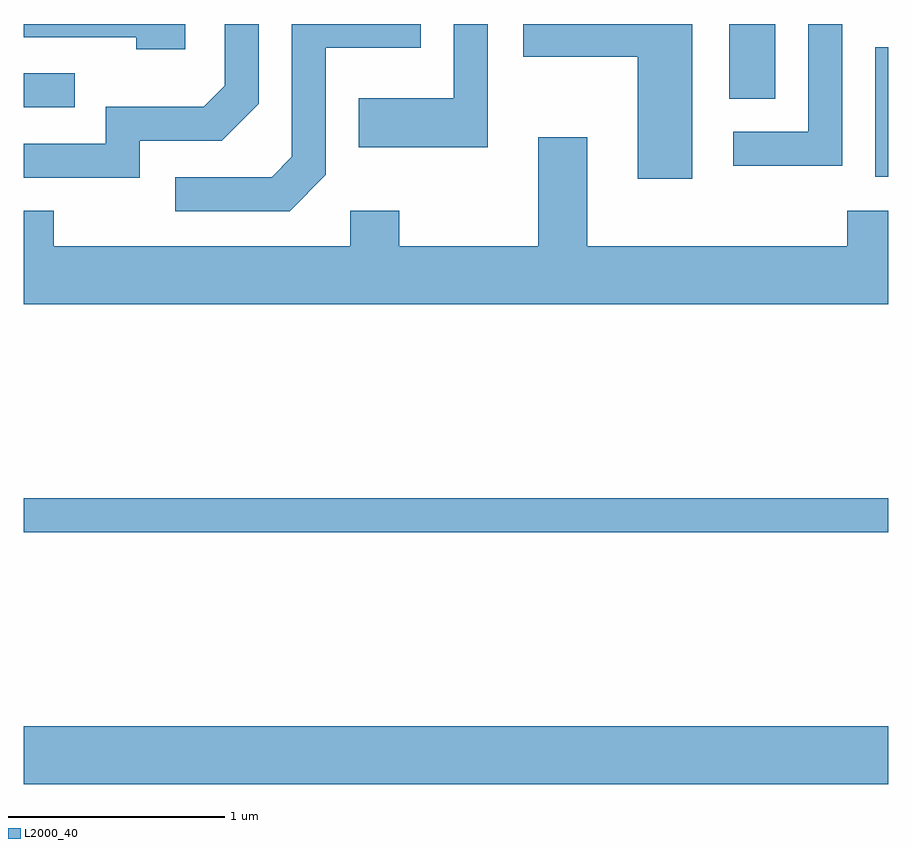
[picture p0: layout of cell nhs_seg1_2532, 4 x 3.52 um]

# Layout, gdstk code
import gdstk
lib = gdstk.Library(unit=1e-6, precision=1e-09)
def R(c, l, rs):  # rectangles x0, y0, x1, y1
    for r in rs: c.add(gdstk.rectangle(r[:2], r[2:], *l))
def P(c, l, *ps):  # polygons
    for p in ps: c.add(gdstk.Polygon(p, *l))
L2000_40 = (2000, 40)

nhs_seg1_2532 = lib.new_cell('nhs_seg1_2532')
R(nhs_seg1_2532, L2000_40, [(261.611,946.196,265.611,946.464), (261.611,947.361,265.611,947.519), (265.551,949.006,265.611,949.604), (261.611,949.326,261.848,949.484), (264.876,949.366,265.089,949.712)])
P(nhs_seg1_2532, L2000_40, [(265.399,949.712),(265.241,949.712),(265.241,949.214),(264.893,949.214),(264.893,949.056),(265.399,949.056)],
  [(262.359,949.712),(261.611,949.712),(261.611,949.651),(262.131,949.651),(262.131,949.596),(262.359,949.596)],
  [(263.759,949.712),(263.601,949.712),(263.601,949.369),(263.161,949.369),(263.161,949.141),(263.759,949.141)],
  [(263.009,949.014),(263.009,949.601),(263.449,949.601),(263.449,949.712),(262.851,949.712),(262.851,949.097),(262.759,949.004),(262.313,949.004),(262.313,948.846),(262.842,948.846)],
  [(262.149,949.171),(262.527,949.171),(262.699,949.344),(262.699,949.712),(262.541,949.712),(262.541,949.427),(262.444,949.329),(261.991,949.329),(261.991,949.159),(261.611,949.159),(261.611,949.001),(262.149,949.001)],
  [(264.704,949.712),(263.921,949.712),(263.921,949.561),(264.451,949.561),(264.451,948.996),(264.704,948.996)],
  [(265.611,948.849),(265.421,948.849),(265.421,948.684),(264.219,948.684),(264.219,949.189),(263.991,949.189),(263.991,948.684),(263.349,948.684),(263.349,948.849),(263.121,948.849),(263.121,948.684),(261.749,948.684),(261.749,948.849),(261.611,948.849),(261.611,948.416),(265.611,948.416)])

lib.write_gds('nhs_seg1_2532.gds')
